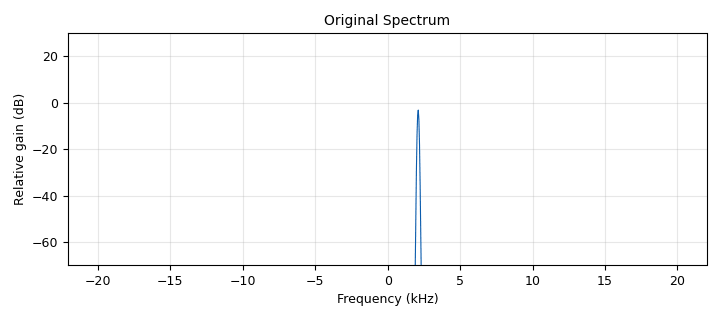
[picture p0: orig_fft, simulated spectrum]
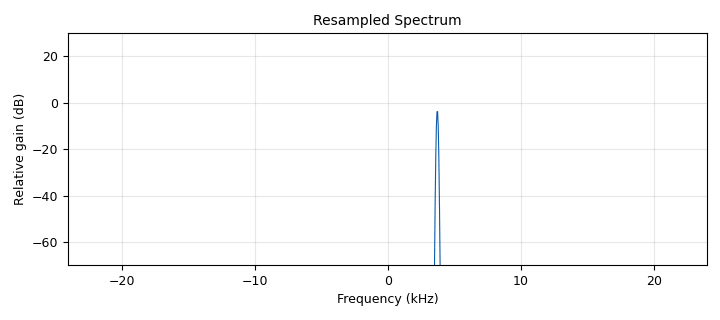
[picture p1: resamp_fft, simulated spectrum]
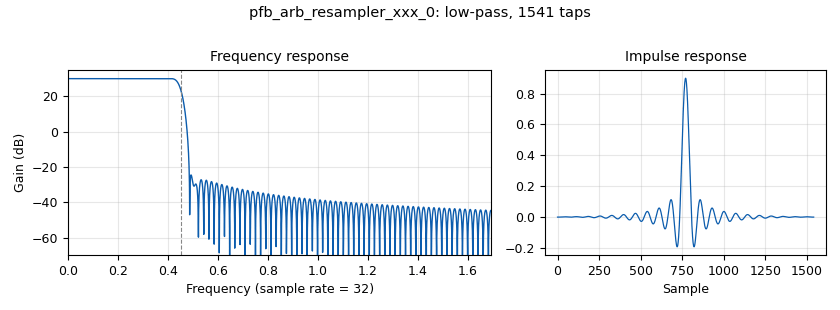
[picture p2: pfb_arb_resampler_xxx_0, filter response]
<?xml version='1.0' encoding='utf-8'?>
<flow_graph>
<block>
<key>options</key>
<param><key>id</key><value>resampler_demo</value></param>
<param><key>generate_options</key><value>wx_gui</value></param>
<param><key>category</key><value>Custom</value></param>
</block>
<block>
<key>variable</key>
<param><key>id</key><value>rs_taps</value></param>
<param><key>value</key><value>firdes.low_pass(nphases, nphases, frac_bw, 0.5-frac_bw)</value></param>
</block>
<block>
<key>variable</key>
<param><key>id</key><value>nphases</value></param>
<param><key>value</key><value>32</value></param>
</block>
<block>
<key>variable_static_text</key>
<param><key>id</key><value>samp_rate</value></param>
<param><key>label</key><value>Sample Rate</value></param>
<param><key>value</key><value>44100</value></param>
<param><key>converver</key><value>float_converter</value></param>
<param><key>formatter</key><value>None</value></param>
<param><key>grid_pos</key><value>0, 0, 1, 1</value></param>
</block>
<block>
<key>variable_static_text</key>
<param><key>id</key><value>new_rate</value></param>
<param><key>label</key><value>Resampled Rate</value></param>
<param><key>value</key><value>48000</value></param>
<param><key>converver</key><value>float_converter</value></param>
<param><key>formatter</key><value>None</value></param>
<param><key>grid_pos</key><value>0, 1, 1, 1</value></param>
</block>
<block>
<key>variable_static_text</key>
<param><key>id</key><value>frac_bw</value></param>
<param><key>label</key><value>Fractional Bandwidth</value></param>
<param><key>value</key><value>0.45</value></param>
<param><key>converver</key><value>float_converter</value></param>
<param><key>formatter</key><value>lambda x: "%0.2f"%x</value></param>
<param><key>grid_pos</key><value>0,2,1,1</value></param>
</block>
<block>
<key>gr_throttle</key>
<param><key>id</key><value>throttle</value></param>
<param><key>type</key><value>float</value></param>
<param><key>samples_per_second</key><value>samp_rate</value></param>
<param><key>vlen</key><value>1</value></param>
</block>
<block>
<key>pfb_arb_resampler_xxx</key>
<param><key>id</key><value>pfb_arb_resampler_xxx_0</value></param>
<param><key>type</key><value>ccf</value></param>
<param><key>rrate</key><value>float(new_rate)/samp_rate</value></param>
<param><key>taps</key><value>rs_taps</value></param>
<param><key>nfilts</key><value>nphases</value></param>
<param><key>atten</key><value>100</value></param>
</block>
<block>
<key>analog_frequency_modulator_fc</key>
<param><key>id</key><value>analog_frequency_modulator_fc_0</value></param>
<param><key>sensitivity</key><value>math.pi</value></param>
</block>
<block>
<key>wxgui_fftsink2</key>
<param><key>id</key><value>orig_fft</value></param>
<param><key>type</key><value>complex</value></param>
<param><key>title</key><value>Original Spectrum</value></param>
<param><key>samp_rate</key><value>samp_rate</value></param>
<param><key>baseband_freq</key><value>0</value></param>
<param><key>y_per_div</key><value>10</value></param>
<param><key>y_divs</key><value>10</value></param>
<param><key>ref_level</key><value>30</value></param>
<param><key>ref_scale</key><value>2.0</value></param>
<param><key>fft_size</key><value>1024</value></param>
<param><key>fft_rate</key><value>30</value></param>
<param><key>peak_hold</key><value>False</value></param>
<param><key>average</key><value>False</value></param>
<param><key>avg_alpha</key><value>0</value></param>
<param><key>win</key><value>None</value></param>
<param><key>grid_pos</key><value>1, 0, 1, 3</value></param>
<param><key>freqvar</key><value>None</value></param>
</block>
<block>
<key>wxgui_fftsink2</key>
<param><key>id</key><value>resamp_fft</value></param>
<param><key>type</key><value>complex</value></param>
<param><key>title</key><value>Resampled Spectrum</value></param>
<param><key>samp_rate</key><value>new_rate</value></param>
<param><key>baseband_freq</key><value>0</value></param>
<param><key>y_per_div</key><value>10</value></param>
<param><key>y_divs</key><value>10</value></param>
<param><key>ref_level</key><value>30</value></param>
<param><key>ref_scale</key><value>2.0</value></param>
<param><key>fft_size</key><value>1024</value></param>
<param><key>fft_rate</key><value>30</value></param>
<param><key>peak_hold</key><value>True</value></param>
<param><key>average</key><value>False</value></param>
<param><key>avg_alpha</key><value>0</value></param>
<param><key>win</key><value>None</value></param>
<param><key>grid_pos</key><value>2, 0, 1, 3</value></param>
<param><key>freqvar</key><value>None</value></param>
</block>
<block>
<key>gr_add_const_vxx</key>
<param><key>id</key><value>adder</value></param>
<param><key>type</key><value>float</value></param>
<param><key>const</key><value>-1.0</value></param>
<param><key>vlen</key><value>1</value></param>
</block>
<block>
<key>analog_sig_source_x</key>
<param><key>id</key><value>analog_sig_source_x_0</value></param>
<param><key>type</key><value>float</value></param>
<param><key>samp_rate</key><value>samp_rate</value></param>
<param><key>waveform</key><value>analog.GR_TRI_WAVE</value></param>
<param><key>freq</key><value>0.05</value></param>
<param><key>amp</key><value>2</value></param>
<param><key>offset</key><value>0</value></param>
</block>
<block>
<key>import</key>
<param><key>id</key><value>import_0</value></param>
<param><key>import</key><value>import math</value></param>
</block>
<connection><source_block_id>adder</source_block_id><sink_block_id>throttle</sink_block_id><source_key>0</source_key><sink_key>0</sink_key></connection>
<connection><source_block_id>pfb_arb_resampler_xxx_0</source_block_id><sink_block_id>resamp_fft</sink_block_id><source_key>0</source_key><sink_key>0</sink_key></connection>
<connection><source_block_id>throttle</source_block_id><sink_block_id>analog_frequency_modulator_fc_0</sink_block_id><source_key>0</source_key><sink_key>0</sink_key></connection>
<connection><source_block_id>analog_frequency_modulator_fc_0</source_block_id><sink_block_id>pfb_arb_resampler_xxx_0</sink_block_id><source_key>0</source_key><sink_key>0</sink_key></connection>
<connection><source_block_id>analog_frequency_modulator_fc_0</source_block_id><sink_block_id>orig_fft</sink_block_id><source_key>0</source_key><sink_key>0</sink_key></connection>
<connection><source_block_id>analog_sig_source_x_0</source_block_id><sink_block_id>adder</sink_block_id><source_key>0</source_key><sink_key>0</sink_key></connection>
</flow_graph>
